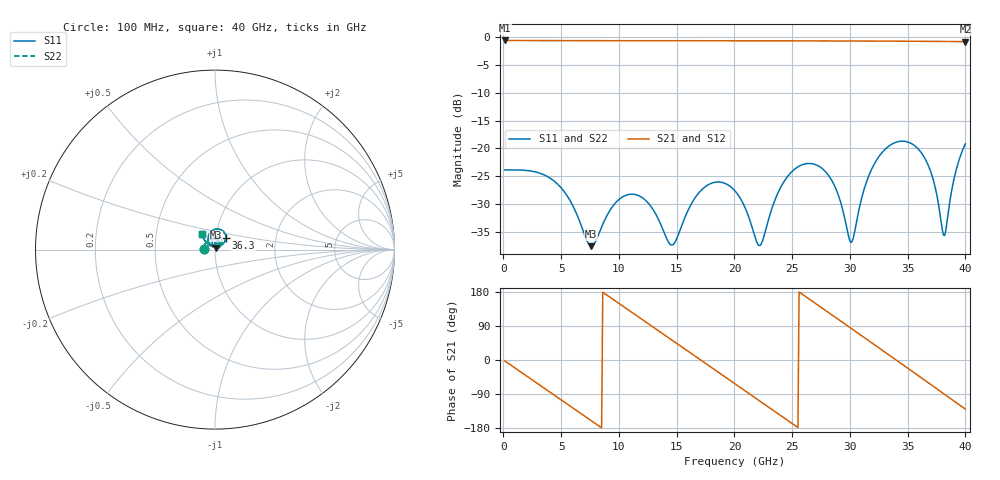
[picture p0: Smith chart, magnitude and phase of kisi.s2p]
! thru_BV_vna_rf_hblb1_out: 2×thru In2.Cu, 8 mm
! stackup: as the board case
! ports: 1 near, 2 far
! kisi-fdtd, conformal, dfine 0.035 mm, 546048 cells
# Hz S RI R 50
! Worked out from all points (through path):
!   400 points, 100 MHz to 40 GHz, reference 50 ohm
!   highest |S21| = -0.60 dB at 100 MHz (marker M1); lowest = -0.8 dB at 40 GHz (marker M2)
!   group delay of S21, straight-line fit = 58.9 ps
!   lowest |S11| = -37.6 dB at 7.6 GHz (marker M3), VSWR 1.03, Z = 50.7 + j1.11 ohm
!   |S11| at or under -10 dB: start of sweep to end of sweep
!   |S22| runs from -37.6 to -18.7 dB; largest |S21 - S12| = 0
!   S11 on the Smith chart (normalised r, x): 100 MHz: 0.88, +0.01; 36.3 GHz: 1.12, +0.14; 40 GHz: 0.86, +0.15
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1e8  -0.064 0.00341  0.9327 -0.0344  0.9327 -0.0344  -0.064 0.00341
3.6e9  0.0126 0.056  0.2266 -0.9031  0.2266 -0.9031  0.0126 0.056
5.1e9  0.0312 0.0295  -0.2794 -0.8871  -0.2794 -0.8871  0.0312 0.0295
6.8e9  0.0172 0.00902  -0.7445 -0.5561  -0.7445 -0.5561  0.0172 0.00902
7.6e9  0.00748 0.0109  -0.8735 -0.3167  -0.8735 -0.3167  0.00748 0.0109
1.01e10  0.0105 0.0338  -0.7817 0.5019  -0.7817 0.5019  0.0105 0.0338
1.18e10  0.0257 0.0269  -0.3399 0.8644  -0.3399 0.8644  0.0257 0.0269
1.34e10  0.02 0.012  0.1975 0.9074  0.1975 0.9074  0.02 0.012
1.47e10  0.00477 0.0128  0.5932 0.7143  0.5932 0.7143  0.00477 0.0128
1.68e10  -0.000147 0.0385  0.9231 0.0962  0.9231 0.0962  -0.000147 0.0385
1.84e10  0.0196 0.0458  0.8202 -0.4336  0.8202 -0.4336  0.0196 0.0458
2.01e10  0.0306 0.0271  0.409 -0.8322  0.409 -0.8322  0.0306 0.0271
2.22e10  0.00313 0.013  -0.2911 -0.8799  -0.2911 -0.8799  0.00313 0.013
2.46e10  -0.0133 0.0542  -0.8658 -0.3284  -0.8658 -0.3284  -0.0133 0.0542
2.67e10  0.026 0.0681  -0.846 0.3743  -0.846 0.3743  0.026 0.0681
2.86e10  0.0366 0.0307  -0.4002 0.833  -0.4002 0.833  0.0366 0.0307
3.01e10  0.00193 0.0141  0.1022 0.9176  0.1022 0.9176  0.00193 0.0141
3.16e10  -0.0348 0.0434  0.5732 0.7224  0.5732 0.7224  -0.0348 0.0434
3.34e10  -0.0184 0.1038  0.8971 0.2067  0.8971 0.2067  -0.0184 0.1038
3.63e10  0.0604 0.0638  0.5962 -0.697  0.5962 -0.697  0.0604 0.0638
3.82e10  -0.00132 0.0164  -0.00912 -0.9141  -0.00912 -0.9141  -0.00132 0.0164
4e10  -0.0705 0.0843  -0.5817 -0.7002  -0.5817 -0.7002  -0.0705 0.0843
